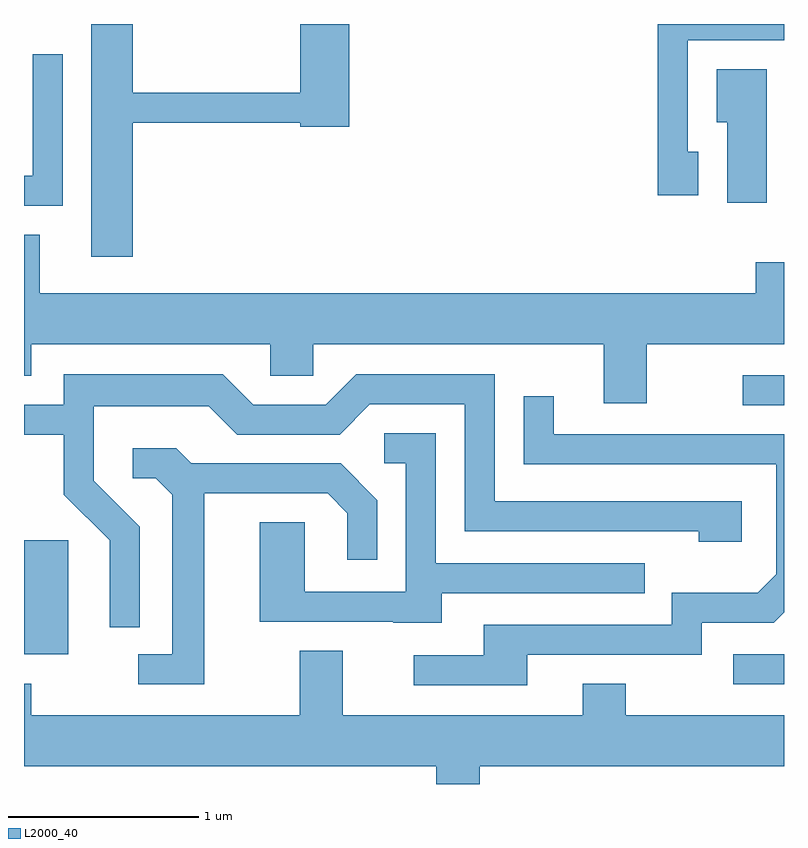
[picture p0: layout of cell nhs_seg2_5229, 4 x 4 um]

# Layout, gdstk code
import gdstk
lib = gdstk.Library(unit=1e-6, precision=1e-09)
def R(c, l, rs):  # rectangles x0, y0, x1, y1
    for r in rs: c.add(gdstk.rectangle(r[:2], r[2:], *l))
def P(c, l, *ps):  # polygons
    for p in ps: c.add(gdstk.Polygon(p, *l))
L2000_40 = (2000, 40)

nhs_seg2_5229 = lib.new_cell('nhs_seg2_5229')
R(nhs_seg2_5229, L2000_40, [(343.343,1024.326,343.611,1024.484), (339.611,1024.486,339.844,1025.084), (343.393,1025.796,343.611,1025.954)])
P(nhs_seg2_5229, L2000_40, [(340.184,1027.281),(341.066,1027.281),(341.066,1027.261),(341.324,1027.261),(341.324,1027.802),(341.066,1027.802),(341.066,1027.439),(340.184,1027.439),(340.184,1027.802),(339.966,1027.802),(339.966,1026.576),(340.184,1026.576)],
  [(343.159,1027.129),(343.104,1027.129),(343.104,1027.716),(343.611,1027.716),(343.611,1027.802),(342.946,1027.802),(342.946,1026.901),(343.159,1026.901)],
  [(339.814,1027.642),(339.656,1027.642),(339.656,1027.004),(339.611,1027.004),(339.611,1026.846),(339.814,1026.846)],
  [(343.519,1027.564),(343.256,1027.564),(343.256,1027.286),(343.311,1027.286),(343.311,1026.861),(343.519,1026.861)],
  [(342.889,1026.116),(343.611,1026.116),(343.611,1026.549),(343.461,1026.549),(343.461,1026.384),(339.694,1026.384),(339.694,1026.694),(339.611,1026.694),(339.611,1025.951),(339.649,1025.951),(339.649,1026.116),(340.906,1026.116),(340.906,1025.951),(341.134,1025.951),(341.134,1026.116),(342.661,1026.116),(342.661,1025.806),(342.889,1025.806)],
  [(340.219,1025.157),(339.979,1025.397),(339.979,1025.791),(340.584,1025.791),(340.734,1025.641),(341.272,1025.641),(341.432,1025.801),(341.931,1025.801),(341.931,1025.131),(343.161,1025.131),(343.161,1025.076),(343.389,1025.076),(343.389,1025.289),(342.089,1025.289),(342.089,1025.959),(341.359,1025.959),(341.199,1025.799),(340.817,1025.799),(340.657,1025.959),(339.821,1025.959),(339.821,1025.799),(339.611,1025.799),(339.611,1025.641),(339.821,1025.641),(339.821,1025.324),(340.061,1025.084),(340.061,1024.628),(340.219,1024.628)],
  [(342.259,1024.481),(343.179,1024.481),(343.179,1024.651),(343.557,1024.651),(343.611,1024.705),(343.611,1025.644),(342.399,1025.644),(342.399,1025.843),(342.241,1025.843),(342.241,1025.486),(343.571,1025.486),(343.571,1024.907),(343.474,1024.809),(343.021,1024.809),(343.021,1024.639),(342.031,1024.639),(342.031,1024.479),(341.663,1024.479),(341.663,1024.321),(342.259,1024.321)],
  [(341.809,1024.806),(342.878,1024.806),(342.878,1024.964),(341.779,1024.964),(341.779,1025.649),(341.508,1025.649),(341.508,1025.491),(341.621,1025.491),(341.621,1024.814),(341.089,1024.814),(341.089,1025.179),(340.851,1025.179),(340.851,1024.656),(341.555,1024.656),(341.555,1024.651),(341.809,1024.651)],
  [(340.559,1025.331),(341.209,1025.331),(341.311,1025.228),(341.311,1024.983),(341.469,1024.983),(341.469,1025.296),(341.277,1025.489),(340.492,1025.489),(340.412,1025.569),(340.183,1025.569),(340.183,1025.411),(340.304,1025.411),(340.391,1025.324),(340.391,1024.484),(340.213,1024.484),(340.213,1024.326),(340.559,1024.326)],
  [(342.009,1023.896),(343.611,1023.896),(343.611,1024.164),(342.779,1024.164),(342.779,1024.329),(342.551,1024.329),(342.551,1024.164),(341.289,1024.164),(341.289,1024.504),(341.061,1024.504),(341.061,1024.164),(339.649,1024.164),(339.649,1024.329),(339.611,1024.329),(339.611,1023.896),(341.781,1023.896),(341.781,1023.802),(342.009,1023.802)])

lib.write_gds('nhs_seg2_5229.gds')
